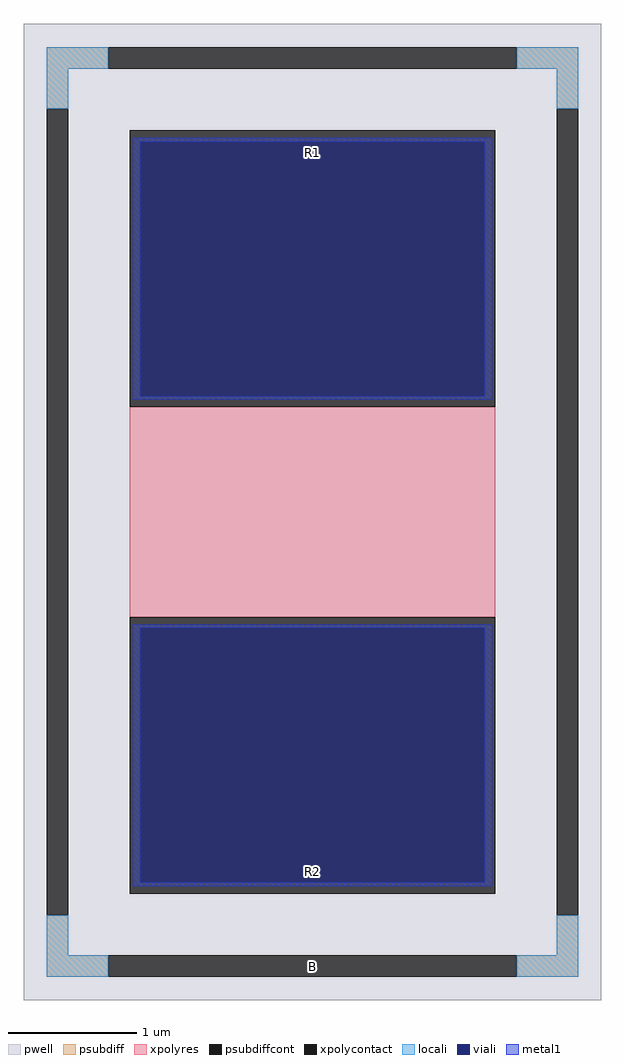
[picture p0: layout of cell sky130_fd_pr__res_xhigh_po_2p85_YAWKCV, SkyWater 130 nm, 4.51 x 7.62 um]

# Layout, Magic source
magic
tech sky130A
magscale 1 2
<< pwell >>
rect -451 -762 451 762
<< psubdiff >>
rect -415 692 -319 726
rect 319 692 415 726
rect -415 630 -381 692
rect 381 630 415 692
rect -415 -692 -381 -630
rect 381 -692 415 -630
rect -415 -726 -319 -692
rect 319 -726 415 -692
<< psubdiffcont >>
rect -319 692 319 726
rect -415 -630 -381 630
rect 381 -630 415 630
rect -319 -726 319 -692
<< xpolycontact >>
rect -285 164 285 596
rect -285 -596 285 -164
<< xpolyres >>
rect -285 -164 285 164
<< locali >>
rect -415 692 -319 726
rect 319 692 415 726
rect -415 630 -381 692
rect 381 630 415 692
rect -415 -692 -381 -630
rect 381 -692 415 -630
rect -415 -726 -319 -692
rect 319 -726 415 -692
<< viali >>
rect -269 181 269 578
rect -269 -578 269 -181
<< metal1 >>
rect -281 578 281 584
rect -281 181 -269 578
rect 269 181 281 578
rect -281 175 281 181
rect -281 -181 281 -175
rect -281 -578 -269 -181
rect 269 -578 281 -181
rect -281 -584 281 -578
<< labels >>
rlabel psubdiffcont 0 -709 0 -709 0 B
port 4 nsew
rlabel xpolycontact 0 561 0 561 0 R1
port 5 nsew
rlabel xpolycontact 0 -561 0 -561 0 R2
port 6 nsew
<< properties >>
string FIXED_BBOX -398 -709 398 709
string gencell sky130_fd_pr__res_xhigh_po_2p85
string library sky130
string parameters w 2.850 l 1.8 m 1 nx 1 wmin 2.850 lmin 0.50 class resistor rho 2000 val 1.395k dummy 0 dw 0.0 term 188.2 sterm 0.0 caplen 0 wmax 2.850 guard 1 glc 1 grc 1 gtc 1 gbc 1 compatible {sky130_fd_pr__res_xhigh_po_0p35  sky130_fd_pr__res_xhigh_po_0p69 sky130_fd_pr__res_xhigh_po_1p41  sky130_fd_pr__res_xhigh_po_2p85 sky130_fd_pr__res_xhigh_po_5p73} snake 0 full_metal 1 n_guard 0 hv_guard 0 vias 1 viagb 0 viagt 0 viagl 0 viagr 0 doports 1 mult 1
<< end >>
